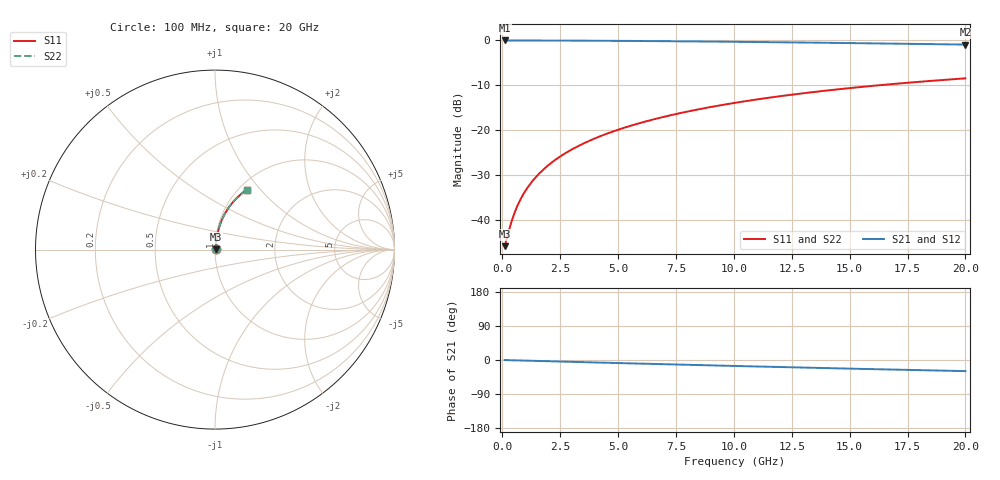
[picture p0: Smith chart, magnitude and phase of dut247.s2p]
! Touchstone file exported from HFSS 2024.1.0
!  File:  C:/UserFiles/LocalFiles/RDL_TSV_Batchsim/temp_RDL_top_247_1778688746.aedt
!  Generated:  12:14:49 AM May 14, 2026
!  Design:  RDL_top
!  Project:  temp_RDL_top_247_1778688746
!  Setup:  Setup1
!  Solution:  Sweep
! Variables:
!  dtsv = 10.80580581um
!  hbump = 3um
!  htsv = 53.54um
!  ldown = 100um
!  lrdl = 324.15um
!  p = 40
!  p1 = 48.49um
!  rhole = 1um
!  t = 450um
!  tdown = 3.915915916um
!  trdl = 2.33um
!  wdown = 15.38538539um
!  wrdl = 10.95um
# GHz S MA R 50.000000
! Terminal data exported
! Port[1] = Box2_T1
! Port[2] = Box2_T2
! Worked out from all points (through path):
!   200 points, 100 MHz to 20 GHz, reference 50 ohm
!   highest |S21| = -0.04 dB at 100 MHz (marker M1); lowest = -1.0 dB at 20 GHz (marker M2)
!   group delay of S21, straight-line fit = 4.08 ps
!   lowest |S11| = -45.8 dB at 100 MHz (marker M3), VSWR 1.01, Z = 50.5 + j0.21 ohm
!   |S11| at or under -10 dB: start of sweep to 16.3 GHz
!   |S22| runs from -45.8 to -8.5 dB; largest |S21 - S12| = 2.1e-15
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0.1  0.005103 24.1  0.9953 -0.2  0.9953 -0.2  0.005103 24.1
! Gamma 0 0 0 0
! Port Impedance 50 0 50 0
0.4  0.009588 59.7  0.9952 -0.7  0.9952 -0.7  0.009588 59.7
0.5  0.01144 64.5  0.9951 -0.8  0.9951 -0.8  0.01144 64.5
0.6  0.01333 67.8  0.995 -1.0  0.995 -1.0  0.01333 67.8
0.7  0.01526 70.3  0.9949 -1.2  0.9949 -1.2  0.01526 70.3
0.9  0.01915 73.7  0.9947 -1.5  0.9947 -1.5  0.01915 73.7
1.2  0.02504 76.7  0.9943 -2.0  0.9943 -2.0  0.02504 76.7
1.4  0.02899 78.0  0.994 -2.3  0.994 -2.3  0.02899 78.0
1.7  0.03492 79.2  0.9936 -2.8  0.9936 -2.8  0.03492 79.2
2.2  0.04486 80.4  0.9927 -3.6  0.9927 -3.6  0.04486 80.4
2.8  0.05683 81.1  0.9916 -4.6  0.9916 -4.6  0.05683 81.1
3.5  0.07083 81.2  0.9899 -5.7  0.9899 -5.7  0.07083 81.2
4.2  0.08486 81.0  0.9879 -6.8  0.9879 -6.8  0.08486 81.0
5  0.1009 80.5  0.9853 -8.1  0.9853 -8.1  0.1009 80.5
5.9  0.119 79.8  0.9819 -9.5  0.9819 -9.5  0.119 79.8
6.8  0.137 78.9  0.9782 -10.9  0.9782 -10.9  0.137 78.9
8.3  0.1669 77.2  0.9712 -13.2  0.9712 -13.2  0.1669 77.2
10.1  0.2022 75.0  0.9616 -15.8  0.9616 -15.8  0.2022 75.0
11.7  0.2329 72.9  0.9523 -18.2  0.9523 -18.2  0.2329 72.9
13.4  0.2646 70.6  0.9416 -20.6  0.9416 -20.6  0.2646 70.6
16.7  0.323 66.3  0.9192 -25.1  0.9192 -25.1  0.3231 66.3
20  0.3769 62.1  0.8953 -29.3  0.8953 -29.3  0.3769 62.1
